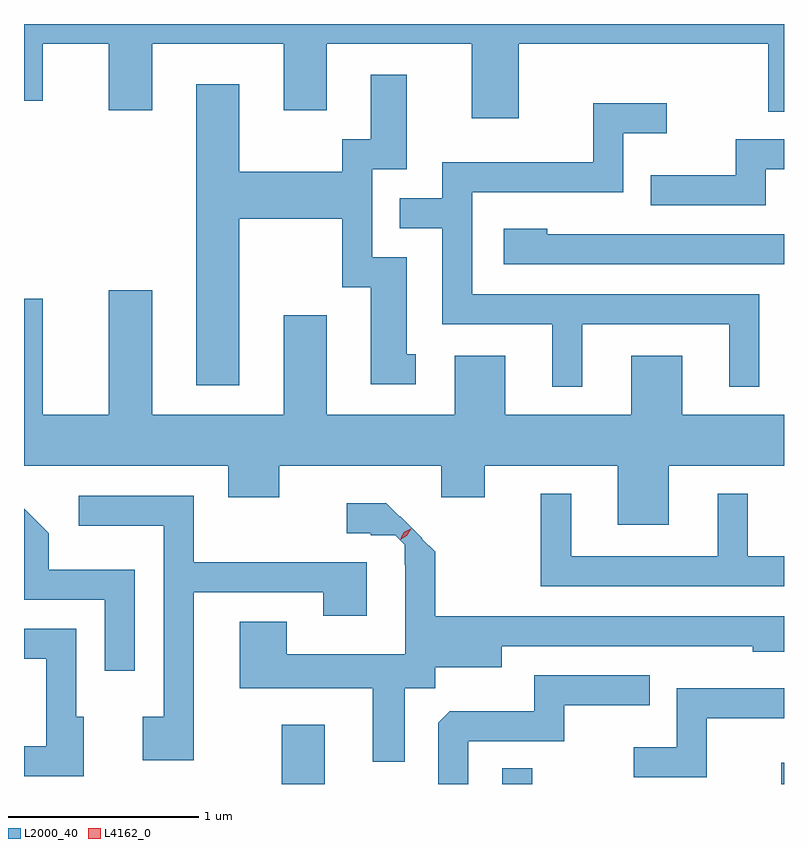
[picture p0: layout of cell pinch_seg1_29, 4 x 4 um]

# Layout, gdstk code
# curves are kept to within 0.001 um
import gdstk
lib = gdstk.Library(unit=1e-6, precision=1e-09)
def R(c, l, rs):  # rectangles x0, y0, x1, y1
    for r in rs: c.add(gdstk.rectangle(r[:2], r[2:], *l))
def P(c, l, *ps):  # polygons
    for p in ps: c.add(gdstk.Polygon(p, *l))
L2000_40 = (2000, 40)
L4162_0 = (4162, 0)

pinch_seg1_29 = lib.new_cell('pinch_seg1_29')
R(pinch_seg1_29, L2000_40, [(1115.701,953.401,1115.929,953.714), (1116.861,953.401,1117.019,953.483), (1118.331,953.401,1118.345,953.514)])
P(pinch_seg1_29, L2000_40, [(1116.949,957.296),(1118.261,957.296),(1118.261,956.938),(1118.345,956.938),(1118.345,957.401),(1114.345,957.401),(1114.345,956.996),(1114.444,956.996),(1114.444,957.296),(1114.791,957.296),(1114.791,956.946),(1115.019,956.946),(1115.019,957.296),(1115.711,957.296),(1115.711,956.946),(1115.939,956.946),(1115.939,957.296),(1116.701,957.296),(1116.701,956.906),(1116.949,956.906)],
  [(1115.479,956.376),(1116.021,956.376),(1116.021,956.016),(1116.171,956.016),(1116.171,955.506),(1116.408,955.506),(1116.408,955.664),(1116.359,955.664),(1116.359,956.174),(1116.179,956.174),(1116.179,956.636),(1116.359,956.636),(1116.359,957.134),(1116.171,957.134),(1116.171,956.794),(1116.021,956.794),(1116.021,956.624),(1115.479,956.624),(1115.479,957.084),(1115.251,957.084),(1115.251,955.501),(1115.479,955.501)],
  [(1117.284,955.821),(1118.056,955.821),(1118.056,955.493),(1118.214,955.493),(1118.214,955.979),(1116.704,955.979),(1116.704,956.516),(1117.499,956.516),(1117.499,956.826),(1117.728,956.826),(1117.728,956.984),(1117.341,956.984),(1117.341,956.674),(1116.546,956.674),(1116.546,956.484),(1116.323,956.484),(1116.323,956.326),(1116.546,956.326),(1116.546,955.821),(1117.126,955.821),(1117.126,955.493),(1117.284,955.493)],
  [(1118.249,956.636),(1118.345,956.636),(1118.345,956.794),(1118.091,956.794),(1118.091,956.604),(1117.643,956.604),(1117.643,956.446),(1118.249,956.446)],
  [(1118.345,956.294),(1117.099,956.294),(1117.099,956.324),(1116.871,956.324),(1116.871,956.136),(1118.345,956.136)],
  [(1117.739,955.076),(1118.345,955.076),(1118.345,955.344),(1117.809,955.344),(1117.809,955.654),(1117.541,955.654),(1117.541,955.344),(1116.879,955.344),(1116.879,955.654),(1116.611,955.654),(1116.611,955.344),(1115.939,955.344),(1115.939,955.869),(1115.711,955.869),(1115.711,955.344),(1115.019,955.344),(1115.019,955.999),(1114.791,955.999),(1114.791,955.344),(1114.444,955.344),(1114.444,955.954),(1114.345,955.954),(1114.345,955.076),(1115.421,955.076),(1115.421,954.911),(1115.689,954.911),(1115.689,955.076),(1116.541,955.076),(1116.541,954.911),(1116.769,954.911),(1116.769,955.076),(1117.471,955.076),(1117.471,954.766),(1117.739,954.766)],
  [(1118.345,954.599),(1118.154,954.599),(1118.154,954.928),(1117.996,954.928),(1117.996,954.599),(1117.224,954.599),(1117.224,954.928),(1117.066,954.928),(1117.066,954.441),(1118.345,954.441)],
  [(1115.239,954.411),(1115.921,954.411),(1115.921,954.286),(1116.149,954.286),(1116.149,954.569),(1115.239,954.569),(1115.239,954.919),(1114.633,954.919),(1114.633,954.761),(1115.081,954.761),(1115.081,953.754),(1114.971,953.754),(1114.971,953.526),(1115.239,953.526)],
  [(1116.349,953.906),(1116.509,953.906),(1116.509,954.016),(1116.859,954.016),(1116.859,954.126),(1118.181,954.126),(1118.181,954.096),(1118.345,954.096),(1118.345,954.284),(1116.509,954.284),(1116.509,954.623),(1116.439,954.693),(1116.44,954.695),(1116.325,954.81),(1116.322,954.808),(1116.251,954.879),(1116.043,954.879),(1116.043,954.721),(1116.17,954.721),(1116.17,954.71),(1116.3,954.71),(1116.35,954.66),(1116.351,954.084),(1115.729,954.084),(1115.729,954.254),(1115.481,954.254),(1115.481,953.906),(1116.181,953.906),(1116.181,953.518),(1116.349,953.518)],
  [(1114.929,954.529),(1114.474,954.529),(1114.474,954.722),(1114.345,954.851),(1114.345,954.371),(1114.771,954.371),(1114.771,953.998),(1114.929,953.998)],
  [(1114.659,953.754),(1114.619,953.754),(1114.619,954.219),(1114.345,954.219),(1114.345,954.061),(1114.461,954.061),(1114.461,953.599),(1114.345,953.599),(1114.345,953.441),(1114.659,953.441)],
  [(1116.684,953.626),(1117.189,953.626),(1117.189,953.816),(1117.638,953.816),(1117.638,953.974),(1117.031,953.974),(1117.031,953.784),(1116.587,953.784),(1116.526,953.724),(1116.526,953.401),(1116.684,953.401)],
  [(1117.939,953.746),(1118.345,953.746),(1118.345,953.904),(1117.781,953.904),(1117.781,953.594),(1117.553,953.594),(1117.553,953.436),(1117.939,953.436)])
P(pinch_seg1_29, L4162_0, [(1116.324,954.686),(1116.324,954.687),(1116.346,954.723),(1116.381,954.745),(1116.382,954.745),(1116.382,954.744),(1116.36,954.708),(1116.325,954.686)],
  [(1116.327,954.693),(1116.327,954.694),(1116.344,954.725),(1116.375,954.742),(1116.376,954.742),(1116.376,954.741),(1116.358,954.71),(1116.328,954.693)])

lib.write_gds('pinch_seg1_29.gds')
